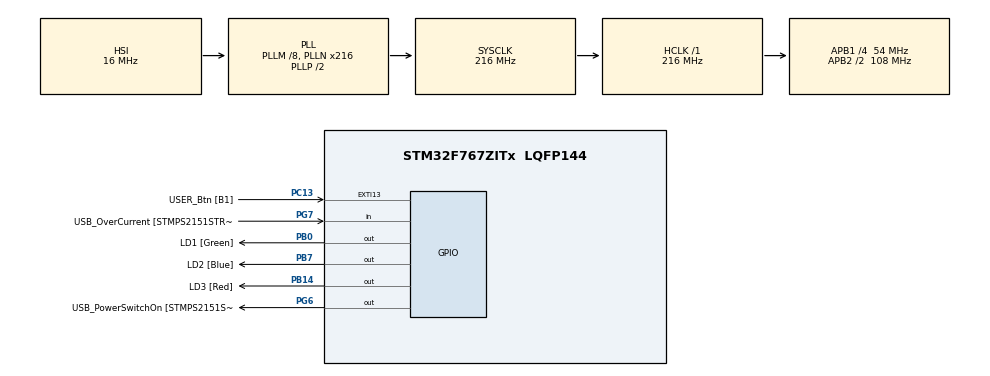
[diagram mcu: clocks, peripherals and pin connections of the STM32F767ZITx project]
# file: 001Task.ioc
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Mcu.Family=STM32F7
Mcu.Name=STM32F767ZITx
Mcu.Package=LQFP144
NVIC.PriorityGroup=NVIC_PRIORITYGROUP_4
NVIC.TIM6_DAC_IRQn=true\:15\:0\:false\:false\:true\:false\:true\:true
NVIC.TimeBase=TIM6_DAC_IRQn
NVIC.TimeBaseIP=TIM6
PA1.GPIO_Label=RMII_REF_CLK [LAN8742A-CZ-TR_REFCLK0]
PA1.Signal=ETH_REF_CLK
PA10.GPIO_Label=USB_ID
PA10.Signal=USB_OTG_FS_ID
PA11.GPIO_Label=USB_DM
PA11.Signal=USB_OTG_FS_DM
PA12.GPIO_Label=USB_DP
PA12.Signal=USB_OTG_FS_DP
PA13.GPIO_Label=TMS
PA13.Mode=Serial_Wire
PA13.Signal=SYS_JTMS-SWDIO
PA14.GPIO_Label=TCK
PA14.Mode=Serial_Wire
PA14.Signal=SYS_JTCK-SWCLK
PA2.GPIO_Label=RMII_MDIO [LAN8742A-CZ-TR_MDIO]
PA2.Signal=ETH_MDIO
PA7.GPIO_Label=RMII_CRS_DV [LAN8742A-CZ-TR_CRS_DV]
PA7.Signal=ETH_CRS_DV
PA8.GPIO_Label=USB_SOF [TP1]
PA8.Signal=USB_OTG_FS_SOF
PA9.GPIO_Label=USB_VBUS
PA9.Signal=USB_OTG_FS_VBUS
PB0.GPIO_Label=LD1 [Green]
PB0.Signal=GPIO_Output
PB13.GPIO_Label=RMII_TXD1 [LAN8742A-CZ-TR_TXD1]
PB13.Signal=ETH_TXD1
PB14.GPIO_Label=LD3 [Red]
PB14.Signal=GPIO_Output
PB3.GPIO_Label=SW0
PB3.Signal=SYS_JTDO-SWO
PB7.GPIO_Label=LD2 [Blue]
PB7.Signal=GPIO_Output
PC1.GPIO_Label=RMII_MDC [LAN8742A-CZ-TR_MDC]
PC1.Signal=ETH_MDC
PC13.GPIO_Label=USER_Btn [B1]
PC13.Signal=GPXTI13
PC14/OSC32_IN.Signal=RCC_OSC32_IN
PC15/OSC32_OUT.Signal=RCC_OSC32_OUT
PC4.GPIO_Label=RMII_RXD0 [LAN8742A-CZ-TR_RXD0]
PC4.Signal=ETH_RXD0
PC5.GPIO_Label=RMII_RXD1 [LAN8742A-CZ-TR_RXD1]
PC5.Signal=ETH_RXD1
PD8.GPIO_Label=STLK_RX [STM32F103CBT6_PA3]
PD8.Signal=USART3_TX
PD9.GPIO_Label=STLK_TX [STM32F103CBT6_PA2]
PD9.Signal=USART3_RX
PG11.GPIO_Label=RMII_TX_EN [LAN8742A-CZ-TR_TXEN]
PG11.Signal=ETH_TX_EN
PG13.GPIO_Label=RMII_TXD0 [LAN8742A-CZ-TR_TXD0]
PG13.Signal=ETH_TXD0
PG6.GPIO_Label=USB_PowerSwitchOn [STMPS2151STR_EN]
PG6.Signal=GPIO_Output
PG7.GPIO_Label=USB_OverCurrent [STMPS2151STR_FAULT]
PG7.Signal=GPIO_Input
PH0/OSC_IN.GPIO_Label=MCO [STM32F103CBT6_PA8]
PH0/OSC_IN.Signal=RCC_OSC_IN
PH1/OSC_OUT.Signal=RCC_OSC_OUT
ProjectManager.HeapSize=0x200
ProjectManager.StackSize=0x400
ProjectManager.TargetToolchain=STM32CubeIDE
RCC.48MHZClocksFreq_Value=24000000
RCC.AHBFreq_Value=216000000
RCC.APB1CLKDivider=RCC_HCLK_DIV4
RCC.APB1Freq_Value=54000000
RCC.APB1TimFreq_Value=108000000
RCC.APB2CLKDivider=RCC_HCLK_DIV2
RCC.APB2Freq_Value=108000000
RCC.APB2TimFreq_Value=216000000
RCC.CortexFreq_Value=216000000
RCC.HCLKFreq_Value=216000000
RCC.HSE_VALUE=16000000
RCC.HSI_VALUE=16000000
RCC.LSE_VALUE=32768
RCC.PLLM=8
RCC.PLLMUL=RCC_PLL_MUL9
RCC.PLLN=216
RCC.PRESCALERUSB=RCC_USBCLKSOURCE_PLL_DIV1_5
RCC.SYSCLKFreq_VALUE=216000000
RCC.SYSCLKSource=RCC_SYSCLKSOURCE_PLLCLK
RCC.SYSCLKSourceVirtual=RCC_SYSCLKSOURCE_PLLCLK
RCC.USBFreq_Value=216000000
RCC.VCOOutputFreq_Value=432000000
VP_SYS_VS_tim6.Mode=TIM6
board=NUCLEO-F767ZI

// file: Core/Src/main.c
/* USER CODE BEGIN Header */
/**
  ******************************************************************************
  * @file           : main.c
  * @brief          : Main program body
  ******************************************************************************
  * @attention
  *
  * Copyright (c) 2024 STMicroelectronics.
  * All rights reserved.
  *
  * This software is licensed under terms that can be found in the LICENSE file
  * in the root directory of this software component.
  * If no LICENSE file comes with this software, it is provided AS-IS.
  *
  ******************************************************************************
  */
/* USER CODE END Header */
#include "main.h"

/* USER CODE BEGIN Includes */
#include <stdio.h>
#include "FreeRTOS.h"
#include "task.h"
/* USER CODE END Includes */

/* USER CODE BEGIN PV */
#define DWT_CTRL (*(volatile uint32_t*)0xE0001000)
/* USER CODE END PV */

void SystemClock_Config(void);
static void MX_GPIO_Init(void);
/* USER CODE BEGIN PFP */
static void vTask1_handler( void * pvParameters );
static void vTask2_handler( void * pvParameters );
/* USER CODE END PFP */

int main(void)
{
  /* USER CODE BEGIN 1 */
	TaskHandle_t pvTask1_handle;
	TaskHandle_t pvTask2_handle;

	BaseType_t status;

  /* USER CODE END 1 */

  /* MCU Configuration--------------------------------------------------------*/

  /* Reset of all peripherals, Initializes the Flash interface and the Systick. */
  HAL_Init();

  /* Configure the system clock */
  SystemClock_Config();

  /* Initialize all configured peripherals */
  MX_GPIO_Init();
  /* USER CODE BEGIN 2 */

  //Enable the CYCCNT counter
  DWT_CTRL |= (1 << 0);

  SEGGER_UART_init(500000);

  SEGGER_SYSVIEW_Conf();

  //SEGGER_SYSVIEW_Start();

  status = xTaskCreate(vTask1_handler, "Task-1", 200, "Hello from Task-1", 2, &pvTask1_handle);
  configASSERT(status == pdPASS);

  status = xTaskCreate(vTask2_handler, "Task-2", 200, "Hello from Task-2", 2, &pvTask2_handle);
  configASSERT(status == pdPASS);

  //Start the FreeRTOS scheduler
  vTaskStartScheduler();

  /* USER CODE END 2 */

  /* Infinite loop */
  while (1)
  {

  }
}

void SystemClock_Config(void)
{
  RCC_OscInitTypeDef RCC_OscInitStruct = {0};
  RCC_ClkInitTypeDef RCC_ClkInitStruct = {0};

  /** Configure the main internal regulator output voltage
  */
  __HAL_RCC_PWR_CLK_ENABLE();
  __HAL_PWR_VOLTAGESCALING_CONFIG(PWR_REGULATOR_VOLTAGE_SCALE1);

  /** Initializes the RCC Oscillators according to the specified parameters
  * in the RCC_OscInitTypeDef structure.
  */
  RCC_OscInitStruct.OscillatorType = RCC_OSCILLATORTYPE_HSI;
  RCC_OscInitStruct.HSIState = RCC_HSI_ON;
  RCC_OscInitStruct.HSICalibrationValue = RCC_HSICALIBRATION_DEFAULT;
  RCC_OscInitStruct.PLL.PLLState = RCC_PLL_ON;
  RCC_OscInitStruct.PLL.PLLSource = RCC_PLLSOURCE_HSI;
  RCC_OscInitStruct.PLL.PLLM = 8;
  RCC_OscInitStruct.PLL.PLLN = 216;
  RCC_OscInitStruct.PLL.PLLP = RCC_PLLP_DIV2;
  RCC_OscInitStruct.PLL.PLLQ = 2;
  RCC_OscInitStruct.PLL.PLLR = 2;
  if (HAL_RCC_OscConfig(&RCC_OscInitStruct) != HAL_OK)
  {
    Error_Handler();
  }

  /** Activate the Over-Drive mode
  */
  if (HAL_PWREx_EnableOverDrive() != HAL_OK)
  {
    Error_Handler();
  }

  /** Initializes the CPU, AHB and APB buses clocks
  */
  RCC_ClkInitStruct.ClockType = RCC_CLOCKTYPE_HCLK|RCC_CLOCKTYPE_SYSCLK
                              |RCC_CLOCKTYPE_PCLK1|RCC_CLOCKTYPE_PCLK2;
  RCC_ClkInitStruct.SYSCLKSource = RCC_SYSCLKSOURCE_PLLCLK;
  RCC_ClkInitStruct.AHBCLKDivider = RCC_SYSCLK_DIV1;
  RCC_ClkInitStruct.APB1CLKDivider = RCC_HCLK_DIV4;
  RCC_ClkInitStruct.APB2CLKDivider = RCC_HCLK_DIV2;

  if (HAL_RCC_ClockConfig(&RCC_ClkInitStruct, FLASH_LATENCY_7) != HAL_OK)
  {
    Error_Handler();
  }
}

static void MX_GPIO_Init(void)
{
  GPIO_InitTypeDef GPIO_InitStruct = {0};

  /* GPIO Ports Clock Enable */
  __HAL_RCC_GPIOC_CLK_ENABLE();
  __HAL_RCC_GPIOH_CLK_ENABLE();
  __HAL_RCC_GPIOA_CLK_ENABLE();
  __HAL_RCC_GPIOB_CLK_ENABLE();
  __HAL_RCC_GPIOD_CLK_ENABLE();
  __HAL_RCC_GPIOG_CLK_ENABLE();

  /*Configure GPIO pin Output Level */
  HAL_GPIO_WritePin(GPIOB, LD1_Pin|LD3_Pin|LD2_Pin, GPIO_PIN_RESET);

  /*Configure GPIO pin Output Level */
  HAL_GPIO_WritePin(USB_PowerSwitchOn_GPIO_Port, USB_PowerSwitchOn_Pin, GPIO_PIN_RESET);

  /*Configure GPIO pin : USER_Btn_Pin */
  GPIO_InitStruct.Pin = USER_Btn_Pin;
  GPIO_InitStruct.Mode = GPIO_MODE_IT_RISING;
  GPIO_InitStruct.Pull = GPIO_NOPULL;
  HAL_GPIO_Init(USER_Btn_GPIO_Port, &GPIO_InitStruct);

  /*Configure GPIO pins : RMII_MDC_Pin RMII_RXD0_Pin RMII_RXD1_Pin */
  GPIO_InitStruct.Pin = RMII_MDC_Pin|RMII_RXD0_Pin|RMII_RXD1_Pin;
  GPIO_InitStruct.Mode = GPIO_MODE_AF_PP;
  GPIO_InitStruct.Pull = GPIO_NOPULL;
  GPIO_InitStruct.Speed = GPIO_SPEED_FREQ_VERY_HIGH;
  GPIO_InitStruct.Alternate = GPIO_AF11_ETH;
  HAL_GPIO_Init(GPIOC, &GPIO_InitStruct);

  /*Configure GPIO pins : RMII_REF_CLK_Pin RMII_MDIO_Pin RMII_CRS_DV_Pin */
  GPIO_InitStruct.Pin = RMII_REF_CLK_Pin|RMII_MDIO_Pin|RMII_CRS_DV_Pin;
  GPIO_InitStruct.Mode = GPIO_MODE_AF_PP;
  GPIO_InitStruct.Pull = GPIO_NOPULL;
  GPIO_InitStruct.Speed = GPIO_SPEED_FREQ_VERY_HIGH;
  GPIO_InitStruct.Alternate = GPIO_AF11_ETH;
  HAL_GPIO_Init(GPIOA, &GPIO_InitStruct);

  /*Configure GPIO pins : LD1_Pin LD3_Pin LD2_Pin */
  GPIO_InitStruct.Pin = LD1_Pin|LD3_Pin|LD2_Pin;
  GPIO_InitStruct.Mode = GPIO_MODE_OUTPUT_PP;
  GPIO_InitStruct.Pull = GPIO_NOPULL;
  GPIO_InitStruct.Speed = GPIO_SPEED_FREQ_LOW;
  HAL_GPIO_Init(GPIOB, &GPIO_InitStruct);

  /*Configure GPIO pin : RMII_TXD1_Pin */
  GPIO_InitStruct.Pin = RMII_TXD1_Pin;
  GPIO_InitStruct.Mode = GPIO_MODE_AF_PP;
  GPIO_InitStruct.Pull = GPIO_NOPULL;
  GPIO_InitStruct.Speed = GPIO_SPEED_FREQ_VERY_HIGH;
  GPIO_InitStruct.Alternate = GPIO_AF11_ETH;
  HAL_GPIO_Init(RMII_TXD1_GPIO_Port, &GPIO_InitStruct);

  /*Configure GPIO pins : STLK_RX_Pin STLK_TX_Pin */
  GPIO_InitStruct.Pin = STLK_RX_Pin|STLK_TX_Pin;
  GPIO_InitStruct.Mode = GPIO_MODE_AF_PP;
  GPIO_InitStruct.Pull = GPIO_NOPULL;
  GPIO_InitStruct.Speed = GPIO_SPEED_FREQ_VERY_HIGH;
  GPIO_InitStruct.Alternate = GPIO_AF7_USART3;
  HAL_GPIO_Init(GPIOD, &GPIO_InitStruct);

  /*Configure GPIO pin : USB_PowerSwitchOn_Pin */
  GPIO_InitStruct.Pin = USB_PowerSwitchOn_Pin;
  GPIO_InitStruct.Mode = GPIO_MODE_OUTPUT_PP;
  GPIO_InitStruct.Pull = GPIO_NOPULL;
  GPIO_InitStruct.Speed = GPIO_SPEED_FREQ_LOW;
  HAL_GPIO_Init(USB_PowerSwitchOn_GPIO_Port, &GPIO_InitStruct);

  /*Configure GPIO pin : USB_OverCurrent_Pin */
  GPIO_InitStruct.Pin = USB_OverCurrent_Pin;
  GPIO_InitStruct.Mode = GPIO_MODE_INPUT;
  GPIO_InitStruct.Pull = GPIO_NOPULL;
  HAL_GPIO_Init(USB_OverCurrent_GPIO_Port, &GPIO_InitStruct);

  /*Configure GPIO pins : USB_SOF_Pin USB_ID_Pin USB_DM_Pin USB_DP_Pin */
  GPIO_InitStruct.Pin = USB_SOF_Pin|USB_ID_Pin|USB_DM_Pin|USB_DP_Pin;
  GPIO_InitStruct.Mode = GPIO_MODE_AF_PP;
  GPIO_InitStruct.Pull = GPIO_NOPULL;
  GPIO_InitStruct.Speed = GPIO_SPEED_FREQ_VERY_HIGH;
  GPIO_InitStruct.Alternate = GPIO_AF10_OTG_FS;
  HAL_GPIO_Init(GPIOA, &GPIO_InitStruct);

  /*Configure GPIO pin : USB_VBUS_Pin */
  GPIO_InitStruct.Pin = USB_VBUS_Pin;
  GPIO_InitStruct.Mode = GPIO_MODE_INPUT;
  GPIO_InitStruct.Pull = GPIO_NOPULL;
  HAL_GPIO_Init(USB_VBUS_GPIO_Port, &GPIO_InitStruct);

  /*Configure GPIO pins : RMII_TX_EN_Pin RMII_TXD0_Pin */
  GPIO_InitStruct.Pin = RMII_TX_EN_Pin|RMII_TXD0_Pin;
  GPIO_InitStruct.Mode = GPIO_MODE_AF_PP;
  GPIO_InitStruct.Pull = GPIO_NOPULL;
  GPIO_InitStruct.Speed = GPIO_SPEED_FREQ_VERY_HIGH;
  GPIO_InitStruct.Alternate = GPIO_AF11_ETH;
  HAL_GPIO_Init(GPIOG, &GPIO_InitStruct);

}

/* USER CODE BEGIN 4 */
static void vTask1_handler( void * pvParameters )
{

    while(1)
    {
        /* Task code goes here. */
    	printf("%s\n", (char*)pvParameters);
    	taskYIELD();
    }
}

static void vTask2_handler( void * pvParameters )
{

    while(1)
    {
        /* Task code goes here. */
    	printf("%s\n", (char*)pvParameters);
    	taskYIELD();
    }
}
/* USER CODE END 4 */

void HAL_TIM_PeriodElapsedCallback(TIM_HandleTypeDef *htim)
{
  if (htim->Instance == TIM6) {
    HAL_IncTick();
  }
}

void Error_Handler(void)
{
  __disable_irq();
  while (1)
  {
  }
}
